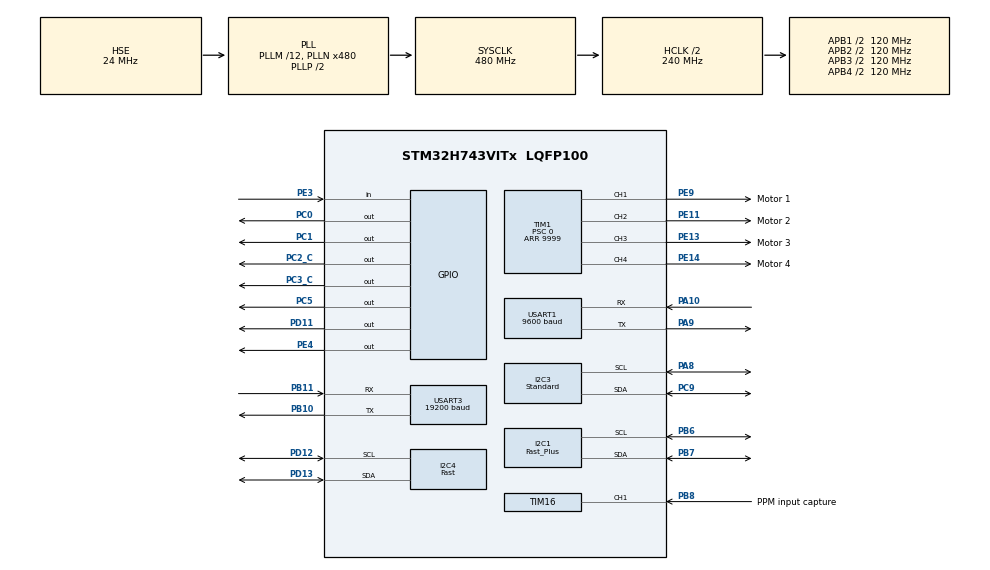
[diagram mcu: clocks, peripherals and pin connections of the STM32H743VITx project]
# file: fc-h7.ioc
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CORTEX_M7.CPU_DCache=Disabled
CORTEX_M7.CPU_ICache=Disabled
CORTEX_M7.default_mode_Activation=0
Dma.I2C1_RX.0.Direction=DMA_PERIPH_TO_MEMORY
Dma.I2C1_RX.0.EventEnable=DISABLE
Dma.I2C1_RX.0.FIFOMode=DMA_FIFOMODE_DISABLE
Dma.I2C1_RX.0.Instance=DMA1_Stream0
Dma.I2C1_RX.0.MemDataAlignment=DMA_MDATAALIGN_BYTE
Dma.I2C1_RX.0.MemInc=DMA_MINC_ENABLE
Dma.I2C1_RX.0.Mode=DMA_NORMAL
Dma.I2C1_RX.0.PeriphDataAlignment=DMA_PDATAALIGN_BYTE
Dma.I2C1_RX.0.PeriphInc=DMA_PINC_DISABLE
Dma.I2C1_RX.0.Polarity=HAL_DMAMUX_REQ_GEN_RISING
Dma.I2C1_RX.0.Priority=DMA_PRIORITY_LOW
Dma.I2C1_RX.0.RequestNumber=1
Dma.I2C1_RX.0.SignalID=NONE
Dma.I2C1_RX.0.SyncEnable=DISABLE
Dma.I2C1_RX.0.SyncPolarity=HAL_DMAMUX_SYNC_NO_EVENT
Dma.I2C1_RX.0.SyncRequestNumber=1
Dma.I2C1_RX.0.SyncSignalID=NONE
Dma.I2C1_TX.1.Direction=DMA_MEMORY_TO_PERIPH
Dma.I2C1_TX.1.EventEnable=DISABLE
Dma.I2C1_TX.1.FIFOMode=DMA_FIFOMODE_DISABLE
Dma.I2C1_TX.1.Instance=DMA2_Stream0
Dma.I2C1_TX.1.MemDataAlignment=DMA_MDATAALIGN_BYTE
Dma.I2C1_TX.1.MemInc=DMA_MINC_ENABLE
Dma.I2C1_TX.1.Mode=DMA_NORMAL
Dma.I2C1_TX.1.PeriphDataAlignment=DMA_PDATAALIGN_BYTE
Dma.I2C1_TX.1.PeriphInc=DMA_PINC_DISABLE
Dma.I2C1_TX.1.Polarity=HAL_DMAMUX_REQ_GEN_RISING
Dma.I2C1_TX.1.Priority=DMA_PRIORITY_LOW
Dma.I2C1_TX.1.RequestNumber=1
Dma.I2C1_TX.1.SignalID=NONE
Dma.I2C1_TX.1.SyncEnable=DISABLE
Dma.I2C1_TX.1.SyncPolarity=HAL_DMAMUX_SYNC_NO_EVENT
Dma.I2C1_TX.1.SyncRequestNumber=1
Dma.I2C1_TX.1.SyncSignalID=NONE
Dma.I2C3_RX.7.Direction=DMA_PERIPH_TO_MEMORY
Dma.I2C3_RX.7.EventEnable=DISABLE
Dma.I2C3_RX.7.FIFOMode=DMA_FIFOMODE_DISABLE
Dma.I2C3_RX.7.Instance=DMA2_Stream6
Dma.I2C3_RX.7.MemDataAlignment=DMA_MDATAALIGN_BYTE
Dma.I2C3_RX.7.MemInc=DMA_MINC_ENABLE
Dma.I2C3_RX.7.Mode=DMA_NORMAL
Dma.I2C3_RX.7.PeriphDataAlignment=DMA_PDATAALIGN_BYTE
Dma.I2C3_RX.7.PeriphInc=DMA_PINC_DISABLE
Dma.I2C3_RX.7.Polarity=HAL_DMAMUX_REQ_GEN_RISING
Dma.I2C3_RX.7.Priority=DMA_PRIORITY_LOW
Dma.I2C3_RX.7.RequestNumber=1
Dma.I2C3_RX.7.SignalID=NONE
Dma.I2C3_RX.7.SyncEnable=DISABLE
Dma.I2C3_RX.7.SyncPolarity=HAL_DMAMUX_SYNC_NO_EVENT
Dma.I2C3_RX.7.SyncRequestNumber=1
Dma.I2C3_RX.7.SyncSignalID=NONE
Dma.I2C3_TX.8.Direction=DMA_MEMORY_TO_PERIPH
Dma.I2C3_TX.8.EventEnable=DISABLE
Dma.I2C3_TX.8.FIFOMode=DMA_FIFOMODE_DISABLE
Dma.I2C3_TX.8.Instance=DMA2_Stream7
Dma.I2C3_TX.8.MemDataAlignment=DMA_MDATAALIGN_BYTE
Dma.I2C3_TX.8.MemInc=DMA_MINC_ENABLE
Dma.I2C3_TX.8.Mode=DMA_NORMAL
Dma.I2C3_TX.8.PeriphDataAlignment=DMA_PDATAALIGN_BYTE
Dma.I2C3_TX.8.PeriphInc=DMA_PINC_DISABLE
Dma.I2C3_TX.8.Polarity=HAL_DMAMUX_REQ_GEN_RISING
Dma.I2C3_TX.8.Priority=DMA_PRIORITY_LOW
Dma.I2C3_TX.8.RequestNumber=1
Dma.I2C3_TX.8.SignalID=NONE
Dma.I2C3_TX.8.SyncEnable=DISABLE
Dma.I2C3_TX.8.SyncPolarity=HAL_DMAMUX_SYNC_NO_EVENT
Dma.I2C3_TX.8.SyncRequestNumber=1
Dma.I2C3_TX.8.SyncSignalID=NONE
Dma.Request0=I2C1_RX
Dma.Request1=I2C1_TX
Dma.Request2=USART1_RX
Dma.Request3=TIM1_CH1
Dma.Request4=TIM1_CH2
Dma.Request5=TIM1_CH3
Dma.Request6=TIM1_CH4
Dma.Request7=I2C3_RX
Dma.Request8=I2C3_TX
Dma.Request9=USART3_RX
Dma.TIM1_CH1.3.Direction=DMA_MEMORY_TO_PERIPH
Dma.TIM1_CH1.3.EventEnable=DISABLE
Dma.TIM1_CH1.3.FIFOMode=DMA_FIFOMODE_ENABLE
Dma.TIM1_CH1.3.FIFOThreshold=DMA_FIFO_THRESHOLD_1QUARTERFULL
Dma.TIM1_CH1.3.Instance=DMA1_Stream2
Dma.TIM1_CH1.3.MemBurst=DMA_MBURST_SINGLE
Dma.TIM1_CH1.3.MemDataAlignment=DMA_MDATAALIGN_WORD
Dma.TIM1_CH1.3.MemInc=DMA_MINC_ENABLE
Dma.TIM1_CH1.3.Mode=DMA_NORMAL
Dma.TIM1_CH1.3.PeriphBurst=DMA_PBURST_SINGLE
Dma.TIM1_CH1.3.PeriphDataAlignment=DMA_PDATAALIGN_WORD
Dma.TIM1_CH1.3.PeriphInc=DMA_PINC_DISABLE
Dma.TIM1_CH1.3.Polarity=HAL_DMAMUX_REQ_GEN_RISING
Dma.TIM1_CH1.3.Priority=DMA_PRIORITY_HIGH
Dma.TIM1_CH1.3.RequestNumber=1
Dma.TIM1_CH1.3.SignalID=NONE
Dma.TIM1_CH1.3.SyncEnable=DISABLE
Dma.TIM1_CH1.3.SyncPolarity=HAL_DMAMUX_SYNC_NO_EVENT
Dma.TIM1_CH1.3.SyncRequestNumber=1
Dma.TIM1_CH1.3.SyncSignalID=NONE
Dma.TIM1_CH2.4.Direction=DMA_MEMORY_TO_PERIPH
Dma.TIM1_CH2.4.EventEnable=DISABLE
Dma.TIM1_CH2.4.FIFOMode=DMA_FIFOMODE_ENABLE
Dma.TIM1_CH2.4.FIFOThreshold=DMA_FIFO_THRESHOLD_1QUARTERFULL
Dma.TIM1_CH2.4.Instance=DMA1_Stream4
Dma.TIM1_CH2.4.MemBurst=DMA_MBURST_SINGLE
Dma.TIM1_CH2.4.MemDataAlignment=DMA_MDATAALIGN_WORD
Dma.TIM1_CH2.4.MemInc=DMA_MINC_ENABLE
Dma.TIM1_CH2.4.Mode=DMA_NORMAL
Dma.TIM1_CH2.4.PeriphBurst=DMA_PBURST_SINGLE
Dma.TIM1_CH2.4.PeriphDataAlignment=DMA_PDATAALIGN_WORD
Dma.TIM1_CH2.4.PeriphInc=DMA_PINC_DISABLE
Dma.TIM1_CH2.4.Polarity=HAL_DMAMUX_REQ_GEN_RISING
Dma.TIM1_CH2.4.Priority=DMA_PRIORITY_HIGH
Dma.TIM1_CH2.4.RequestNumber=1
Dma.TIM1_CH2.4.SignalID=NONE
Dma.TIM1_CH2.4.SyncEnable=DISABLE
Dma.TIM1_CH2.4.SyncPolarity=HAL_DMAMUX_SYNC_NO_EVENT
Dma.TIM1_CH2.4.SyncRequestNumber=1
Dma.TIM1_CH2.4.SyncSignalID=NONE
Dma.TIM1_CH3.5.Direction=DMA_MEMORY_TO_PERIPH
Dma.TIM1_CH3.5.EventEnable=DISABLE
Dma.TIM1_CH3.5.FIFOMode=DMA_FIFOMODE_ENABLE
Dma.TIM1_CH3.5.FIFOThreshold=DMA_FIFO_THRESHOLD_1QUARTERFULL
Dma.TIM1_CH3.5.Instance=DMA1_Stream7
Dma.TIM1_CH3.5.MemBurst=DMA_MBURST_SINGLE
Dma.TIM1_CH3.5.MemDataAlignment=DMA_MDATAALIGN_WORD
Dma.TIM1_CH3.5.MemInc=DMA_MINC_ENABLE
Dma.TIM1_CH3.5.Mode=DMA_NORMAL
Dma.TIM1_CH3.5.PeriphBurst=DMA_PBURST_SINGLE
Dma.TIM1_CH3.5.PeriphDataAlignment=DMA_PDATAALIGN_WORD
Dma.TIM1_CH3.5.PeriphInc=DMA_PINC_DISABLE
Dma.TIM1_CH3.5.Polarity=HAL_DMAMUX_REQ_GEN_RISING
Dma.TIM1_CH3.5.Priority=DMA_PRIORITY_HIGH
Dma.TIM1_CH3.5.RequestNumber=1
Dma.TIM1_CH3.5.SignalID=NONE
Dma.TIM1_CH3.5.SyncEnable=DISABLE
Dma.TIM1_CH3.5.SyncPolarity=HAL_DMAMUX_SYNC_NO_EVENT
Dma.TIM1_CH3.5.SyncRequestNumber=1
Dma.TIM1_CH3.5.SyncSignalID=NONE
Dma.TIM1_CH4.6.Direction=DMA_MEMORY_TO_PERIPH
Dma.TIM1_CH4.6.EventEnable=DISABLE
Dma.TIM1_CH4.6.FIFOMode=DMA_FIFOMODE_ENABLE
Dma.TIM1_CH4.6.FIFOThreshold=DMA_FIFO_THRESHOLD_1QUARTERFULL
Dma.TIM1_CH4.6.Instance=DMA2_Stream1
Dma.TIM1_CH4.6.MemBurst=DMA_MBURST_SINGLE
Dma.TIM1_CH4.6.MemDataAlignment=DMA_MDATAALIGN_WORD
Dma.TIM1_CH4.6.MemInc=DMA_MINC_ENABLE
Dma.TIM1_CH4.6.Mode=DMA_NORMAL
Dma.TIM1_CH4.6.PeriphBurst=DMA_PBURST_SINGLE
Dma.TIM1_CH4.6.PeriphDataAlignment=DMA_PDATAALIGN_WORD
Dma.TIM1_CH4.6.PeriphInc=DMA_PINC_DISABLE
Dma.TIM1_CH4.6.Polarity=HAL_DMAMUX_REQ_GEN_RISING
Dma.TIM1_CH4.6.Priority=DMA_PRIORITY_HIGH
Dma.TIM1_CH4.6.RequestNumber=1
Dma.TIM1_CH4.6.SignalID=NONE
Dma.TIM1_CH4.6.SyncEnable=DISABLE
Dma.TIM1_CH4.6.SyncPolarity=HAL_DMAMUX_SYNC_NO_EVENT
Dma.TIM1_CH4.6.SyncRequestNumber=1
Dma.TIM1_CH4.6.SyncSignalID=NONE
Dma.USART1_RX.2.Direction=DMA_PERIPH_TO_MEMORY
Dma.USART1_RX.2.EventEnable=DISABLE
Dma.USART1_RX.2.FIFOMode=DMA_FIFOMODE_DISABLE
Dma.USART1_RX.2.Instance=DMA1_Stream6
Dma.USART1_RX.2.MemDataAlignment=DMA_MDATAALIGN_BYTE
Dma.USART1_RX.2.MemInc=DMA_MINC_ENABLE
Dma.USART1_RX.2.Mode=DMA_CIRCULAR
Dma.USART1_RX.2.PeriphDataAlignment=DMA_PDATAALIGN_BYTE
Dma.USART1_RX.2.PeriphInc=DMA_PINC_DISABLE
Dma.USART1_RX.2.Polarity=HAL_DMAMUX_REQ_GEN_RISING
Dma.USART1_RX.2.Priority=DMA_PRIORITY_LOW
Dma.USART1_RX.2.RequestNumber=1
Dma.USART1_RX.2.SignalID=NONE
Dma.USART1_RX.2.SyncEnable=DISABLE
Dma.USART1_RX.2.SyncPolarity=HAL_DMAMUX_SYNC_NO_EVENT
Dma.USART1_RX.2.SyncRequestNumber=1
Dma.USART1_RX.2.SyncSignalID=NONE
Dma.USART3_RX.9.Direction=DMA_PERIPH_TO_MEMORY
Dma.USART3_RX.9.EventEnable=DISABLE
Dma.USART3_RX.9.FIFOMode=DMA_FIFOMODE_DISABLE
Dma.USART3_RX.9.Instance=DMA1_Stream1
Dma.USART3_RX.9.MemDataAlignment=DMA_MDATAALIGN_BYTE
Dma.USART3_RX.9.MemInc=DMA_MINC_ENABLE
Dma.USART3_RX.9.Mode=DMA_CIRCULAR
Dma.USART3_RX.9.PeriphDataAlignment=DMA_PDATAALIGN_BYTE
Dma.USART3_RX.9.PeriphInc=DMA_PINC_DISABLE
Dma.USART3_RX.9.Polarity=HAL_DMAMUX_REQ_GEN_RISING
Dma.USART3_RX.9.Priority=DMA_PRIORITY_LOW
Dma.USART3_RX.9.RequestNumber=1
Dma.USART3_RX.9.SignalID=NONE
Dma.USART3_RX.9.SyncEnable=DISABLE
Dma.USART3_RX.9.SyncPolarity=HAL_DMAMUX_SYNC_NO_EVENT
Dma.USART3_RX.9.SyncRequestNumber=1
Dma.USART3_RX.9.SyncSignalID=NONE
I2C1.I2C_Speed_Mode=I2C_Fast_Plus
I2C1.Timing=0x0050174F
I2C3.I2C_Speed_Mode=I2C_Standard
I2C3.OwnAddress=0x68
I2C3.Timing=0x307075B1
I2C4.I2C_Speed_Mode=I2C_Fast
I2C4.Timing=0x00B03FDB
Mcu.Family=STM32H7
Mcu.Name=STM32H743VITx
Mcu.Package=LQFP100
NVIC.DMA1_Stream0_IRQn=true\:0\:0\:false\:false\:true\:false\:true\:true
NVIC.DMA1_Stream1_IRQn=true\:0\:0\:false\:false\:true\:false\:true\:true
NVIC.DMA1_Stream2_IRQn=true\:0\:0\:false\:false\:true\:false\:true\:true
NVIC.DMA1_Stream4_IRQn=true\:0\:0\:false\:false\:true\:false\:true\:true
NVIC.DMA1_Stream6_IRQn=true\:0\:0\:false\:false\:true\:false\:true\:true
NVIC.DMA1_Stream7_IRQn=true\:0\:0\:false\:false\:true\:false\:true\:true
NVIC.DMA2_Stream0_IRQn=true\:0\:0\:false\:false\:true\:false\:true\:true
NVIC.DMA2_Stream1_IRQn=true\:0\:0\:false\:false\:true\:false\:true\:true
NVIC.DMA2_Stream6_IRQn=true\:0\:0\:false\:false\:true\:false\:true\:true
NVIC.DMA2_Stream7_IRQn=true\:0\:0\:false\:false\:true\:false\:true\:true
NVIC.I2C1_ER_IRQn=true\:0\:0\:false\:false\:true\:true\:true\:true
NVIC.I2C1_EV_IRQn=true\:0\:0\:false\:false\:true\:true\:true\:true
NVIC.PriorityGroup=NVIC_PRIORITYGROUP_4
NVIC.TIM16_IRQn=true\:0\:0\:false\:false\:true\:true\:true\:true
NVIC.TIM6_DAC_IRQn=true\:0\:0\:false\:false\:true\:true\:true\:true
NVIC.TIM7_IRQn=true\:0\:0\:false\:false\:true\:true\:true\:true
NVIC.TIM8_TRG_COM_TIM14_IRQn=true\:0\:0\:false\:false\:true\:true\:true\:true
NVIC.TIM8_UP_TIM13_IRQn=true\:0\:0\:false\:false\:true\:true\:true\:true
NVIC.USART1_IRQn=true\:0\:0\:false\:false\:true\:true\:true\:true
NVIC.USART3_IRQn=true\:0\:0\:false\:false\:true\:true\:true\:true
PA0.Signal=S_TIM2_CH1_ETR
PA1.GPIO_Label=Motor 8
PA1.Signal=S_TIM2_CH2
PA10.Mode=Asynchronous
PA10.Signal=USART1_RX
PA11.Signal=UART4_RX
PA12.Signal=UART4_TX
PA13\ (JTMS/SWDIO).Mode=Serial_Wire
PA13\ (JTMS/SWDIO).Signal=DEBUG_JTMS-SWDIO
PA14\ (JTCK/SWCLK).Mode=Serial_Wire
PA14\ (JTCK/SWCLK).Signal=DEBUG_JTCK-SWCLK
PA2.Signal=S_TIM2_CH3
PA3.Signal=S_TIM2_CH4
PA8.Mode=I2C
PA8.Signal=I2C3_SCL
PA9.Mode=Asynchronous
PA9.Signal=USART1_TX
PB10.Mode=Asynchronous
PB10.Signal=USART3_TX
PB11.Mode=Asynchronous
PB11.Signal=USART3_RX
PB6.Mode=I2C
PB6.Signal=I2C1_SCL
PB7.Mode=I2C
PB7.Signal=I2C1_SDA
PB8.GPIO_Label=PPM input capture
PB8.Signal=S_TIM16_CH1
PC0.Signal=GPIO_Output
PC1.Signal=GPIO_Output
PC2_C.Signal=GPIO_Output
PC3_C.Signal=GPIO_Output
PC5.Signal=GPIO_Output
PC9.Mode=I2C
PC9.Signal=I2C3_SDA
PD11.Signal=GPIO_Output
PD12.Mode=I2C
PD12.Signal=I2C4_SCL
PD13.Mode=I2C
PD13.Signal=I2C4_SDA
PD5.PinAttribute=Free
PD5.Signal=USART2_TX
PD6.PinAttribute=Free
PD6.Signal=USART2_RX
PE11.GPIO_Label=Motor 2
PE11.Signal=S_TIM1_CH2
PE13.GPIO_Label=Motor 3
PE13.Signal=S_TIM1_CH3
PE14.GPIO_Label=Motor 4
PE14.Signal=S_TIM1_CH4
PE3.Signal=GPIO_Input
PE4.Signal=GPIO_Output
PE5.Signal=S_TIM15_CH1
PE6.Signal=S_TIM15_CH2
PE9.GPIO_Label=Motor 1
PE9.Signal=S_TIM1_CH1
PH0-OSC_IN\ (PH0).Mode=HSE-External-Oscillator
PH0-OSC_IN\ (PH0).Signal=RCC_OSC_IN
PH1-OSC_OUT\ (PH1).Mode=HSE-External-Oscillator
PH1-OSC_OUT\ (PH1).Signal=RCC_OSC_OUT
ProjectManager.HeapSize=0x200
ProjectManager.StackSize=0x400
ProjectManager.TargetToolchain=STM32CubeIDE
RCC.ADCFreq_Value=480000000
RCC.APB1Freq_Value=120000000
RCC.APB2Freq_Value=120000000
RCC.APB3Freq_Value=120000000
RCC.APB4Freq_Value=120000000
RCC.CortexFreq_Value=480000000
RCC.D1PPRE=RCC_APB3_DIV2
RCC.D2PPRE1=RCC_APB1_DIV2
RCC.D2PPRE2=RCC_APB2_DIV2
RCC.D3PPRE=RCC_APB4_DIV2
RCC.DIVM1=12
RCC.DIVM2=12
RCC.DIVM3=12
RCC.DIVN1=480
RCC.DIVN2=480
RCC.DIVN3=480
RCC.DIVQ2=8
RCC.DIVQ3=8
RCC.DIVR1=8
RCC.DIVR3=8
RCC.HCLKFreq_Value=240000000
RCC.HPRE=RCC_HCLK_DIV2
RCC.HSE_VALUE=24000000
RCC.HSIDiv=RCC_PLLSAIDIVR_8
RCC.I2C123CLockSelection=RCC_I2C123CLKSOURCE_PLL3
RCC.I2C4CLockSelection=RCC_I2C4CLKSOURCE_PLL3
RCC.PLL1_VCI_Range-AdvancedSettings=RCC_PLL1VCIRANGE_0
RCC.PLL2FRACN=0
RCC.PLL2_VCI_Range-AdvancedSettings=RCC_PLL2VCIRANGE_3
RCC.PLL3FRACN=0
RCC.PLLFRACN=0
RCC.PLLSourceVirtual=RCC_PLLSOURCE_HSE
RCC.SYSCLKFreq_VALUE=480000000
RCC.SYSCLKSource=RCC_SYSCLKSOURCE_PLLCLK
RCC.USART16CLockSelection=RCC_USART16CLKSOURCE_PLL3
RCC.USART234578CLockSelection=RCC_USART234578CLKSOURCE_PLL3
RCC.USBCLockSelection=RCC_USBCLKSOURCE_HSI48
RCC.USBFreq_Value=48000000
SH.S_TIM15_CH1.0=TIM15_CH1
SH.S_TIM15_CH2.0=TIM15_CH2
SH.S_TIM16_CH1.0=TIM16_CH1,Input_Capture1_from_TI1
SH.S_TIM1_CH1.0=TIM1_CH1,PWM Generation1 CH1
SH.S_TIM1_CH2.0=TIM1_CH2,PWM Generation2 CH2
SH.S_TIM1_CH3.0=TIM1_CH3,PWM Generation3 CH3
SH.S_TIM1_CH4.0=TIM1_CH4,PWM Generation4 CH4
SH.S_TIM2_CH1_ETR.0=TIM2_CH1
SH.S_TIM2_CH2.0=TIM2_CH2
SH.S_TIM2_CH3.0=TIM2_CH3
SH.S_TIM2_CH4.0=TIM2_CH4
TIM1.Channel-PWM\ Generation1\ CH1=TIM_CHANNEL_1
TIM1.Channel-PWM\ Generation2\ CH2=TIM_CHANNEL_2
TIM1.Channel-PWM\ Generation3\ CH3=TIM_CHANNEL_3
TIM1.Channel-PWM\ Generation4\ CH4=TIM_CHANNEL_4
TIM1.Period=9999
TIM1.Prescaler=0
TIM13.Period=999
TIM13.Prescaler=239
TIM14.Period=124
TIM14.Prescaler=239
TIM16.Channel=TIM_CHANNEL_1
TIM16.Prescaler=239
TIM6.Period=249
TIM6.Prescaler=239
TIM7.Period=499
TIM7.Prescaler=239
USART1.BaudRate=9600
USART1.VirtualMode-Asynchronous=VM_ASYNC
USART3.BaudRate=19200
USART3.VirtualMode-Asynchronous=VM_ASYNC
VP_MEMORYMAP_VS_MEMORYMAP.Mode=CurAppReg
VP_TIM13_VS_ClockSourceINT.Mode=Enable_Timer
VP_TIM14_VS_ClockSourceINT.Mode=Enable_Timer
VP_TIM16_VS_ClockSourceINT.Mode=Enable_Timer
VP_TIM1_VS_ClockSourceINT.Mode=Internal
VP_TIM6_VS_ClockSourceINT.Mode=Enable_Timer
VP_TIM7_VS_ClockSourceINT.Mode=Enable_Timer
board=custom

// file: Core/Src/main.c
/* USER CODE BEGIN Header */
/**
  ******************************************************************************
  * @file           : main.c
  * @brief          : Main program body
  ******************************************************************************
  * @attention
  *
  * Copyright (c) 2025 STMicroelectronics.
  * All rights reserved.
  *
  * This software is licensed under terms that can be found in the LICENSE file
  * in the root directory of this software component.
  * If no LICENSE file comes with this software, it is provided AS-IS.
  *
  ******************************************************************************
  */
/* USER CODE END Header */
#include "main.h"

/* USER CODE BEGIN Includes */
#include <platform.h>
#include <dshot.h>
#include <dshot_ex.h>
#include <string.h>
#include <stdlib.h>
#include <macro.h>

/* USER CODE END Includes */

I2C_HandleTypeDef hi2c1;
I2C_HandleTypeDef hi2c3;
I2C_HandleTypeDef hi2c4;
DMA_HandleTypeDef hdma_i2c1_rx;
DMA_HandleTypeDef hdma_i2c1_tx;
DMA_HandleTypeDef hdma_i2c3_rx;
DMA_HandleTypeDef hdma_i2c3_tx;

TIM_HandleTypeDef htim1;
TIM_HandleTypeDef htim6;
TIM_HandleTypeDef htim7;
TIM_HandleTypeDef htim13;
TIM_HandleTypeDef htim14;
TIM_HandleTypeDef htim16;
DMA_HandleTypeDef hdma_tim1_ch1;
DMA_HandleTypeDef hdma_tim1_ch2;
DMA_HandleTypeDef hdma_tim1_ch3;
DMA_HandleTypeDef hdma_tim1_ch4;

UART_HandleTypeDef huart1;
UART_HandleTypeDef huart3;
DMA_HandleTypeDef hdma_usart1_rx;
DMA_HandleTypeDef hdma_usart3_rx;

void SystemClock_Config(void);
void PeriphCommonClock_Config(void);
static void MX_GPIO_Init(void);
static void MX_DMA_Init(void);
static void MX_I2C1_Init(void);
static void MX_I2C3_Init(void);
static void MX_I2C4_Init(void);
static void MX_TIM1_Init(void);
static void MX_TIM6_Init(void);
static void MX_TIM7_Init(void);
static void MX_TIM13_Init(void);
static void MX_TIM14_Init(void);
static void MX_TIM16_Init(void);
static void MX_USART1_UART_Init(void);
static void MX_USART3_UART_Init(void);

/* USER CODE BEGIN 0 */

#define MAX_UART_BUFFER_SIZE 128

typedef struct {
  uint8_t byte;
  uint8_t buffer[MAX_UART_BUFFER_SIZE];
  uint8_t header[2];
  char stage;
  uint16_t payload_size;
  int buffer_idx;
} uart_rx_t;

static I2C_HandleTypeDef* i2c_ports[3] = {&hi2c1, &hi2c3, &hi2c4};
static UART_HandleTypeDef* uart_ports[2] = {&huart1, &huart3};
static TIM_HandleTypeDef* g_pwm_timers[4] = {&htim1, &htim1, &htim1, &htim1};
static uint32_t g_pwm_timer_channels[4] = {TIM_CHANNEL_1, TIM_CHANNEL_2, TIM_CHANNEL_3, TIM_CHANNEL_4};
static TIM_TypeDef *g_pwm_time_bases[4] = {TIM1, TIM1, TIM1, TIM1};

static dshot_t g_dshots[4];

static dshot_ex_t g_dshot_exs[4];

static uart_rx_t g_uart_rx1 = {0, {0}, {0}, 0, 0, 0};
static uart_rx_t g_uart_rx2 = {0, {0}, {0}, 0, 0, 0};

static void toggle_led(char led) {
	HAL_GPIO_TogglePin(GPIOC, GPIO_PIN_0);
}

static void delay(uint32_t ms) {
	HAL_Delay(ms);
}

static uint32_t time_ms(void) {
	return HAL_GetTick();
}

static char storage_read(uint16_t start, uint16_t size, uint8_t *data) {
	return 0;
}

static char storage_write(uint16_t start, uint16_t size, uint8_t *data) {
	return 0;
}

static char i2c_write_read_dma(i2c_port_t port, uint8_t address, uint8_t *input, uint16_t input_size,
		uint8_t *output, uint16_t output_size) {
	return HAL_I2C_Mem_Read_DMA(i2c_ports[port], address, *(uint16_t*)input, input_size, output, output_size);
}

static char i2c_write_read(i2c_port_t port, uint8_t address, uint8_t *input, uint16_t input_size,
		uint8_t *output, uint16_t output_size, uint32_t timeout) {
	return HAL_I2C_Mem_Read(i2c_ports[port], address, *(uint16_t*)input, input_size, output, output_size, timeout);
}

static char i2c_read(i2c_port_t port, uint8_t address, uint8_t *output, uint16_t output_size) {
	return HAL_I2C_Master_Receive(i2c_ports[port], address, output, output_size, 1000);
}

static char i2c_write(i2c_port_t port, uint8_t address, uint8_t *input, uint16_t input_size) {
	return HAL_I2C_Master_Transmit(i2c_ports[port], address, input, input_size, 1000);
}

static char uart_send(uart_port_t port, uint8_t *data, uint16_t data_size) {
	return HAL_UART_Transmit_IT(uart_ports[port], data, data_size);
}

static char pwm_init(pwm_port_t port) {
	HAL_TIM_PWM_Start(g_pwm_timers[port], g_pwm_timer_channels[port]);
	return 0;
}

static void set_pwm(TIM_TypeDef *timer_base, uint32_t channel, uint32_t duty) {
	switch (channel) {
	case TIM_CHANNEL_1:
		timer_base->CCR1 = duty;
		break;
	case TIM_CHANNEL_2:
		timer_base->CCR2 = duty;
		break;
	case TIM_CHANNEL_3:
		timer_base->CCR3 = duty;
		break;
	case TIM_CHANNEL_4:
		timer_base->CCR4 = duty;
		break;
	default:
		break;
	}
}

static char pwm_send(pwm_port_t port, uint32_t data) {
	set_pwm(g_pwm_time_bases[port], g_pwm_timer_channels[port], data);
	return 0;
}

static char _dshot_init(dshot_port_t port) {
	switch (port) {
	case DSHOT_PORT1:
		dshot_init(&g_dshots[0], &htim1, TIM_CHANNEL_1, TIM_DMA_ID_CC1, (uint32_t)&((&htim1)->Instance->CCR1));
		break;
	case DSHOT_PORT2:
		dshot_init(&g_dshots[1], &htim1, TIM_CHANNEL_2, TIM_DMA_ID_CC2, (uint32_t)&((&htim1)->Instance->CCR2));
		break;
	case DSHOT_PORT3:
		dshot_init(&g_dshots[2], &htim1, TIM_CHANNEL_3, TIM_DMA_ID_CC3, (uint32_t)&((&htim1)->Instance->CCR3));
		break;
	case DSHOT_PORT4:
		dshot_init(&g_dshots[3], &htim1, TIM_CHANNEL_4, TIM_DMA_ID_CC4, (uint32_t)&((&htim1)->Instance->CCR4));
		break;
	default:
		break;
	}

	return 0;
}

static char dshot_send(dshot_port_t port, uint16_t data) {
	dshot_write(&g_dshots[port], data);
	return 0;
}

static char _dshot_ex_init(dshot_ex_port_t port) {
	switch (port) {
	case DSHOT_EX_PORT1:
		dshot_ex_init(&g_dshot_exs[0], &htim1, TIM_CHANNEL_1, TIM_DMA_ID_CC1, (uint32_t)&((&htim1)->Instance->CCR1));
		break;
	case DSHOT_EX_PORT2:
		dshot_ex_init(&g_dshot_exs[1], &htim1, TIM_CHANNEL_2, TIM_DMA_ID_CC2, (uint32_t)&((&htim1)->Instance->CCR2));
		break;
	case DSHOT_EX_PORT3:
		dshot_ex_init(&g_dshot_exs[2], &htim1, TIM_CHANNEL_3, TIM_DMA_ID_CC3, (uint32_t)&((&htim1)->Instance->CCR3));
		break;
	case DSHOT_EX_PORT4:
		dshot_ex_init(&g_dshot_exs[3], &htim1, TIM_CHANNEL_4, TIM_DMA_ID_CC4, (uint32_t)&((&htim1)->Instance->CCR4));
		break;
	default:
		break;
	}

	return 0;
}

static char dshot_ex_send(dshot_ex_port_t port, uint32_t data) {
	dshot_ex_write(&g_dshot_exs[port], data);
	return 0;
}

static void handle_db_msg(uart_rx_t *msg) {
    if ((msg->header[0] == 'd' && msg->header[1] == 'b')) { // DB message
    	platform_receive_internal_message(msg->buffer, msg->payload_size);
    }
}

void HAL_UART_RxCpltCallback(UART_HandleTypeDef *huart) {
	if (huart->Instance == USART1) {
		if (g_uart_rx1.stage == 5) {
			g_uart_rx1.buffer[g_uart_rx1.buffer_idx] = g_uart_rx1.byte;
			g_uart_rx1.buffer_idx++;
			// Plus 2-byte class-id, 2-byte length and 2-byte checksum
			if (g_uart_rx1.buffer_idx == (int) g_uart_rx1.payload_size + 6) {
				g_uart_rx1.stage = 0;
				handle_db_msg(&g_uart_rx1);
			}
		} else if (g_uart_rx1.stage == 0) {
			if (g_uart_rx1.byte == 'd' || g_uart_rx1.byte == 'b') {
				g_uart_rx1.header[0] = g_uart_rx1.byte;
				g_uart_rx1.stage = 1;
			}
		} else if (g_uart_rx1.stage == 1) {
			if (g_uart_rx1.byte == 'b' || g_uart_rx1.byte == 'd') {
				g_uart_rx1.header[1] = g_uart_rx1.byte;
				g_uart_rx1.buffer_idx = 0;
				g_uart_rx1.stage = 2;
			} else g_uart_rx1.stage = 0;
		} else if (g_uart_rx1.stage == 2) {
			g_uart_rx1.buffer[g_uart_rx1.buffer_idx] = g_uart_rx1.byte;
			g_uart_rx1.buffer_idx = 1;
			g_uart_rx1.stage = 3;
		} else if (g_uart_rx1.stage == 3) {
			g_uart_rx1.buffer[g_uart_rx1.buffer_idx] = g_uart_rx1.byte;
			g_uart_rx1.buffer_idx = 2;
			g_uart_rx1.stage = 4;
		} else if (g_uart_rx1.stage == 4) {
			g_uart_rx1.buffer[g_uart_rx1.buffer_idx] = g_uart_rx1.byte;
			g_uart_rx1.buffer_idx++;
			if (g_uart_rx1.buffer_idx == 4) {
				g_uart_rx1.payload_size = * (uint16_t * ) & g_uart_rx1.buffer[2];
				g_uart_rx1.stage = 5;
			}
		} else {
			g_uart_rx1.stage = 0;
		}
	}

	if (huart->Instance == USART3) {
		if (g_uart_rx2.stage == 5) {
			g_uart_rx2.buffer[g_uart_rx2.buffer_idx] = g_uart_rx2.byte;
			g_uart_rx2.buffer_idx++;
			// Plus 2-byte class-id, 2-byte length and 2-byte checksum
			if (g_uart_rx2.buffer_idx == (int) g_uart_rx2.payload_size + 6) {
				g_uart_rx2.stage = 0;
				handle_db_msg(&g_uart_rx2);
			}
		} else if (g_uart_rx2.stage == 0) {
			if (g_uart_rx2.byte == 'd' || g_uart_rx2.byte == 'b') {
				g_uart_rx2.header[0] = g_uart_rx2.byte;
				g_uart_rx2.stage = 1;
			}
		} else if (g_uart_rx2.stage == 1) {
			if (g_uart_rx2.byte == 'b' || g_uart_rx2.byte == 'd') {
				g_uart_rx2.header[1] = g_uart_rx2.byte;
				g_uart_rx2.buffer_idx = 0;
				g_uart_rx2.stage = 2;
			} else g_uart_rx2.stage = 0;
		} else if (g_uart_rx2.stage == 2) {
			g_uart_rx2.buffer[g_uart_rx2.buffer_idx] = g_uart_rx2.byte;
			g_uart_rx2.buffer_idx = 1;
			g_uart_rx2.stage = 3;
		} else if (g_uart_rx2.stage == 3) {
			g_uart_rx2.buffer[g_uart_rx2.buffer_idx] = g_uart_rx2.byte;
			g_uart_rx2.buffer_idx = 2;
			g_uart_rx2.stage = 4;
		} else if (g_uart_rx2.stage == 4) {
			g_uart_rx2.buffer[g_uart_rx2.buffer_idx] = g_uart_rx2.byte;
			g_uart_rx2.buffer_idx++;
			if (g_uart_rx2.buffer_idx == 4) {
				g_uart_rx2.payload_size = * (uint16_t * ) & g_uart_rx2.buffer[2];
				g_uart_rx2.stage = 5;
			}
		} else {
			g_uart_rx2.stage = 0;
		}
	}
}

#define MIN_RC_IN_CAP 1000
#define AVR_RC_IN_CAP 1500
#define MAX_RC_IN_CAP 2000
#define RANGE_RC_IN_CAP (MAX_RC_IN_CAP - MIN_RC_IN_CAP)
#define SIGNIFICANT_CHANGE 20
#define MIN_THROTTLE ((int)(-RANGE_RC_IN_CAP/2)+SIGNIFICANT_CHANGE)
#define MIN_YAW ((int)(-RANGE_RC_IN_CAP/2)+SIGNIFICANT_CHANGE)
#define MIN_PITCH ((int)(-RANGE_RC_IN_CAP/2)+SIGNIFICANT_CHANGE)
#define MAX_ROLL ((int)(RANGE_RC_IN_CAP/2)-SIGNIFICANT_CHANGE)

static int g_rc_params[16];
static int g_rc_param_idx = 0;
static int cap_value_prev = 0;
static uint8_t g_rc_db_msg_payload[22] = {0x02 /* Command */, 0x00 /* Set point */, 0, 0x0f};

void HAL_TIM_IC_CaptureCallback(TIM_HandleTypeDef *htim) {
	if (htim->Instance == TIM16) {
		switch (htim->Channel) {
		case HAL_TIM_ACTIVE_CHANNEL_1:
			int cap_value = HAL_TIM_ReadCapturedValue(&htim16, TIM_CHANNEL_1);
			int value = cap_value - cap_value_prev;
			cap_value_prev = cap_value;

			if (value < 0) value += 65536;

			if (g_rc_param_idx < 17) {
				g_rc_params[g_rc_param_idx] = value;
				g_rc_param_idx += 1;
			}

			if (value > MAX_RC_IN_CAP + MIN_RC_IN_CAP) {
				g_rc_param_idx = 0;

				int roll 	= g_rc_params[3] - 1500;
				int pitch = g_rc_params[2] - 1500;
				int yaw 	= g_rc_params[0] - 1500;
				int alt 	= g_rc_params[1] - 1500;
				uint8_t state = g_rc_params[4] < 1250 ? 0 : (g_rc_params[4] > 1750 ? 2 : 1);
				uint8_t mode = g_rc_params[5] < 1250 ? 0 : (g_rc_params[5] > 1750 ? 2 : 1);

				if (roll <= -10) roll = roll + 10;
				else if (roll >= 10) roll = roll - 10;
				else roll = 0;

				if (pitch <= -10) pitch = pitch + 10;
				else if (pitch >= 10) pitch = pitch - 10;
				else pitch = 0;

				if (yaw <= -10) yaw = yaw + 10;
				else if (yaw >= 10) yaw = yaw - 10;
				else yaw = 0;

				if (alt <= -10) alt = alt + 10;
				else if (alt >= 10) alt = alt - 10;
				else alt = 0;

				memcpy(&g_rc_db_msg_payload[4], (uint8_t*)&roll, sizeof(int));
				memcpy(&g_rc_db_msg_payload[8], (uint8_t*)&pitch, sizeof(int));
				memcpy(&g_rc_db_msg_payload[12], (uint8_t*)&yaw, sizeof(int));
				memcpy(&g_rc_db_msg_payload[16], (uint8_t*)&alt, sizeof(int));
				g_rc_db_msg_payload[20] = state;
				g_rc_db_msg_payload[21] = mode;
				platform_receive_internal_message(g_rc_db_msg_payload, 22);
			}
			break;
		default:
			break;
		}
	}
}

/* USER CODE END 0 */

int main(void)
{

  /* MCU Configuration--------------------------------------------------------*/

  /* Reset of all peripherals, Initializes the Flash interface and the Systick. */
  HAL_Init();

  /* Configure the system clock */
  SystemClock_Config();

  /* Configure the peripherals common clocks */
  PeriphCommonClock_Config();

  /* Initialize all configured peripherals */
  MX_GPIO_Init();
  MX_DMA_Init();
  MX_I2C1_Init();
  MX_I2C3_Init();
  MX_I2C4_Init();
  MX_TIM1_Init();
  MX_TIM6_Init();
  MX_TIM7_Init();
  MX_TIM13_Init();
  MX_TIM14_Init();
  MX_TIM16_Init();
  MX_USART1_UART_Init();
  MX_USART3_UART_Init();
  /* USER CODE BEGIN 2 */

  HAL_Delay(100);

  // Register platform functions
  platform_register_toggle_led(toggle_led);
  platform_register_time_ms(time_ms);
  platform_register_delay(delay);
  platform_register_storage(storage_read, storage_write);
  platform_register_io_functions(
  		i2c_write_read_dma,
		i2c_write_read,
		i2c_read, i2c_write,
		uart_send,
		pwm_init,
		pwm_send,
		_dshot_init,
		dshot_send,
		_dshot_ex_init,
		dshot_ex_send);

  // Setup platform modules
  platform_setup();

  // Start UART communication
  HAL_UART_Receive_DMA(&huart1, &g_uart_rx1.byte, 1);
  HAL_UART_Receive_DMA(&huart3, &g_uart_rx2.byte, 1);

  // PPM input capture
  HAL_TIM_IC_Start_IT(&htim16, TIM_CHANNEL_1);

  // Start timers
  HAL_TIM_Base_Start_IT(&htim6);
  HAL_TIM_Base_Start_IT(&htim7);
  HAL_TIM_Base_Start_IT(&htim13);
  HAL_TIM_Base_Start_IT(&htim14);

  /* USER CODE END 2 */

  /* Infinite loop */
  /* USER CODE BEGIN WHILE */
  while (1)
  {
	  platform_loop();
    /* USER CODE END WHILE */

  }
}

void SystemClock_Config(void)
{
  RCC_OscInitTypeDef RCC_OscInitStruct = {0};
  RCC_ClkInitTypeDef RCC_ClkInitStruct = {0};

  /** Supply configuration update enable
  */
  HAL_PWREx_ConfigSupply(PWR_LDO_SUPPLY);

  /** Configure the main internal regulator output voltage
  */
  __HAL_PWR_VOLTAGESCALING_CONFIG(PWR_REGULATOR_VOLTAGE_SCALE0);

  while(!__HAL_PWR_GET_FLAG(PWR_FLAG_VOSRDY)) {}

  /** Initializes the RCC Oscillators according to the specified parameters
  * in the RCC_OscInitTypeDef structure.
  */
  RCC_OscInitStruct.OscillatorType = RCC_OSCILLATORTYPE_HSE;
  RCC_OscInitStruct.HSEState = RCC_HSE_ON;
  RCC_OscInitStruct.PLL.PLLState = RCC_PLL_ON;
  RCC_OscInitStruct.PLL.PLLSource = RCC_PLLSOURCE_HSE;
  RCC_OscInitStruct.PLL.PLLM = 12;
  RCC_OscInitStruct.PLL.PLLN = 480;
  RCC_OscInitStruct.PLL.PLLP = 2;
  RCC_OscInitStruct.PLL.PLLQ = 2;
  RCC_OscInitStruct.PLL.PLLR = 8;
  RCC_OscInitStruct.PLL.PLLRGE = RCC_PLL1VCIRANGE_1;
  RCC_OscInitStruct.PLL.PLLVCOSEL = RCC_PLL1VCOWIDE;
  RCC_OscInitStruct.PLL.PLLFRACN = 0;
  if (HAL_RCC_OscConfig(&RCC_OscInitStruct) != HAL_OK)
  {
    Error_Handler();
  }

  /** Initializes the CPU, AHB and APB buses clocks
  */
  RCC_ClkInitStruct.ClockType = RCC_CLOCKTYPE_HCLK|RCC_CLOCKTYPE_SYSCLK
                              |RCC_CLOCKTYPE_PCLK1|RCC_CLOCKTYPE_PCLK2
                              |RCC_CLOCKTYPE_D3PCLK1|RCC_CLOCKTYPE_D1PCLK1;
  RCC_ClkInitStruct.SYSCLKSource = RCC_SYSCLKSOURCE_PLLCLK;
  RCC_ClkInitStruct.SYSCLKDivider = RCC_SYSCLK_DIV1;
  RCC_ClkInitStruct.AHBCLKDivider = RCC_HCLK_DIV2;
  RCC_ClkInitStruct.APB3CLKDivider = RCC_APB3_DIV2;
  RCC_ClkInitStruct.APB1CLKDivider = RCC_APB1_DIV2;
  RCC_ClkInitStruct.APB2CLKDivider = RCC_APB2_DIV2;
  RCC_ClkInitStruct.APB4CLKDivider = RCC_APB4_DIV2;

  if (HAL_RCC_ClockConfig(&RCC_ClkInitStruct, FLASH_LATENCY_4) != HAL_OK)
  {
    Error_Handler();
  }
}

void PeriphCommonClock_Config(void)
{
  RCC_PeriphCLKInitTypeDef PeriphClkInitStruct = {0};

  /** Initializes the peripherals clock
  */
  PeriphClkInitStruct.PeriphClockSelection = RCC_PERIPHCLK_I2C4|RCC_PERIPHCLK_I2C3
                              |RCC_PERIPHCLK_I2C1|RCC_PERIPHCLK_USART1
                              |RCC_PERIPHCLK_USART3;
  PeriphClkInitStruct.PLL3.PLL3M = 12;
  PeriphClkInitStruct.PLL3.PLL3N = 480;
  PeriphClkInitStruct.PLL3.PLL3P = 2;
  PeriphClkInitStruct.PLL3.PLL3Q = 8;
  PeriphClkInitStruct.PLL3.PLL3R = 8;
  PeriphClkInitStruct.PLL3.PLL3RGE = RCC_PLL3VCIRANGE_1;
  PeriphClkInitStruct.PLL3.PLL3VCOSEL = RCC_PLL3VCOWIDE;
  PeriphClkInitStruct.PLL3.PLL3FRACN = 0;
  PeriphClkInitStruct.Usart234578ClockSelection = RCC_USART234578CLKSOURCE_PLL3;
  PeriphClkInitStruct.Usart16ClockSelection = RCC_USART16CLKSOURCE_PLL3;
  PeriphClkInitStruct.I2c123ClockSelection = RCC_I2C123CLKSOURCE_PLL3;
  PeriphClkInitStruct.I2c4ClockSelection = RCC_I2C4CLKSOURCE_PLL3;
  if (HAL_RCCEx_PeriphCLKConfig(&PeriphClkInitStruct) != HAL_OK)
  {
    Error_Handler();
  }
}

static void MX_I2C1_Init(void)
{

  hi2c1.Instance = I2C1;
  hi2c1.Init.Timing = 0x0050174F;
  hi2c1.Init.OwnAddress1 = 0;
  hi2c1.Init.AddressingMode = I2C_ADDRESSINGMODE_7BIT;
  hi2c1.Init.DualAddressMode = I2C_DUALADDRESS_DISABLE;
  hi2c1.Init.OwnAddress2 = 0;
  hi2c1.Init.OwnAddress2Masks = I2C_OA2_NOMASK;
  hi2c1.Init.GeneralCallMode = I2C_GENERALCALL_DISABLE;
  hi2c1.Init.NoStretchMode = I2C_NOSTRETCH_DISABLE;
  if (HAL_I2C_Init(&hi2c1) != HAL_OK)
  {
    Error_Handler();
  }

  /** Configure Analogue filter
  */
  if (HAL_I2CEx_ConfigAnalogFilter(&hi2c1, I2C_ANALOGFILTER_ENABLE) != HAL_OK)
  {
    Error_Handler();
  }

  /** Configure Digital filter
  */
  if (HAL_I2CEx_ConfigDigitalFilter(&hi2c1, 0) != HAL_OK)
  {
    Error_Handler();
  }

  /** I2C Enable Fast Mode Plus
  */
  HAL_I2CEx_EnableFastModePlus(I2C_FASTMODEPLUS_I2C1);

}

static void MX_I2C3_Init(void)
{

  hi2c3.Instance = I2C3;
  hi2c3.Init.Timing = 0x307075B1;
  hi2c3.Init.OwnAddress1 = 208;
  hi2c3.Init.AddressingMode = I2C_ADDRESSINGMODE_7BIT;
  hi2c3.Init.DualAddressMode = I2C_DUALADDRESS_DISABLE;
  hi2c3.Init.OwnAddress2 = 0;
  hi2c3.Init.OwnAddress2Masks = I2C_OA2_NOMASK;
  hi2c3.Init.GeneralCallMode = I2C_GENERALCALL_DISABLE;
  hi2c3.Init.NoStretchMode = I2C_NOSTRETCH_DISABLE;
  if (HAL_I2C_Init(&hi2c3) != HAL_OK)
  {
    Error_Handler();
  }

  /** Configure Analogue filter
  */
  if (HAL_I2CEx_ConfigAnalogFilter(&hi2c3, I2C_ANALOGFILTER_ENABLE) != HAL_OK)
  {
    Error_Handler();
  }

  /** Configure Digital filter
  */
  if (HAL_I2CEx_ConfigDigitalFilter(&hi2c3, 0) != HAL_OK)
  {
    Error_Handler();
  }

}

static void MX_I2C4_Init(void)
{

  hi2c4.Instance = I2C4;
  hi2c4.Init.Timing = 0x00B03FDB;
  hi2c4.Init.OwnAddress1 = 0;
  hi2c4.Init.AddressingMode = I2C_ADDRESSINGMODE_7BIT;
  hi2c4.Init.DualAddressMode = I2C_DUALADDRESS_DISABLE;
  hi2c4.Init.OwnAddress2 = 0;
  hi2c4.Init.OwnAddress2Masks = I2C_OA2_NOMASK;
  hi2c4.Init.GeneralCallMode = I2C_GENERALCALL_DISABLE;
  hi2c4.Init.NoStretchMode = I2C_NOSTRETCH_DISABLE;
  if (HAL_I2C_Init(&hi2c4) != HAL_OK)
  {
    Error_Handler();
  }

  /** Configure Analogue filter
  */
  if (HAL_I2CEx_ConfigAnalogFilter(&hi2c4, I2C_ANALOGFILTER_ENABLE) != HAL_OK)
  {
    Error_Handler();
  }

  /** Configure Digital filter
  */
  if (HAL_I2CEx_ConfigDigitalFilter(&hi2c4, 0) != HAL_OK)
  {
    Error_Handler();
  }

}

static void MX_TIM1_Init(void)
{

  TIM_ClockConfigTypeDef sClockSourceConfig = {0};
  TIM_MasterConfigTypeDef sMasterConfig = {0};
  TIM_OC_InitTypeDef sConfigOC = {0};
  TIM_BreakDeadTimeConfigTypeDef sBreakDeadTimeConfig = {0};

  htim1.Instance = TIM1;
  htim1.Init.Prescaler = 0;
  htim1.Init.CounterMode = TIM_COUNTERMODE_UP;
  htim1.Init.Period = 9999;
  htim1.Init.ClockDivision = TIM_CLOCKDIVISION_DIV1;
  htim1.Init.RepetitionCounter = 0;
  htim1.Init.AutoReloadPreload = TIM_AUTORELOAD_PRELOAD_DISABLE;
  if (HAL_TIM_Base_Init(&htim1) != HAL_OK)
  {
    Error_Handler();
  }
  sClockSourceConfig.ClockSource = TIM_CLOCKSOURCE_INTERNAL;
  if (HAL_TIM_ConfigClockSource(&htim1, &sClockSourceConfig) != HAL_OK)
  {
    Error_Handler();
  }
  if (HAL_TIM_PWM_Init(&htim1) != HAL_OK)
  {
    Error_Handler();
  }
  sMasterConfig.MasterOutputTrigger = TIM_TRGO_RESET;
  sMasterConfig.MasterOutputTrigger2 = TIM_TRGO2_RESET;
  sMasterConfig.MasterSlaveMode = TIM_MASTERSLAVEMODE_DISABLE;
  if (HAL_TIMEx_MasterConfigSynchronization(&htim1, &sMasterConfig) != HAL_OK)
  {
    Error_Handler();
  }
  sConfigOC.OCMode = TIM_OCMODE_PWM1;
  sConfigOC.Pulse = 0;
  sConfigOC.OCPolarity = TIM_OCPOLARITY_HIGH;
  sConfigOC.OCNPolarity = TIM_OCNPOLARITY_HIGH;
  sConfigOC.OCFastMode = TIM_OCFAST_DISABLE;
  sConfigOC.OCIdleState = TIM_OCIDLESTATE_RESET;
  sConfigOC.OCNIdleState = TIM_OCNIDLESTATE_RESET;
  if (HAL_TIM_PWM_ConfigChannel(&htim1, &sConfigOC, TIM_CHANNEL_1) != HAL_OK)
  {
    Error_Handler();
  }
  if (HAL_TIM_PWM_ConfigChannel(&htim1, &sConfigOC, TIM_CHANNEL_2) != HAL_OK)
  {
    Error_Handler();
  }
  if (HAL_TIM_PWM_ConfigChannel(&htim1, &sConfigOC, TIM_CHANNEL_3) != HAL_OK)
  {
    Error_Handler();
  }
  if (HAL_TIM_PWM_ConfigChannel(&htim1, &sConfigOC, TIM_CHANNEL_4) != HAL_OK)
  {
    Error_Handler();
  }
  sBreakDeadTimeConfig.OffStateRunMode = TIM_OSSR_DISABLE;
  sBreakDeadTimeConfig.OffStateIDLEMode = TIM_OSSI_DISABLE;
  sBreakDeadTimeConfig.LockLevel = TIM_LOCKLEVEL_OFF;
  sBreakDeadTimeConfig.DeadTime = 0;
  sBreakDeadTimeConfig.BreakState = TIM_BREAK_DISABLE;
  sBreakDeadTimeConfig.BreakPolarity = TIM_BREAKPOLARITY_HIGH;
  sBreakDeadTimeConfig.BreakFilter = 0;
  sBreakDeadTimeConfig.Break2State = TIM_BREAK2_DISABLE;
  sBreakDeadTimeConfig.Break2Polarity = TIM_BREAK2POLARITY_HIGH;
  sBreakDeadTimeConfig.Break2Filter = 0;
  sBreakDeadTimeConfig.AutomaticOutput = TIM_AUTOMATICOUTPUT_DISABLE;
  if (HAL_TIMEx_ConfigBreakDeadTime(&htim1, &sBreakDeadTimeConfig) != HAL_OK)
  {
    Error_Handler();
  }
  HAL_TIM_MspPostInit(&htim1);

}

static void MX_TIM6_Init(void)
{

  TIM_MasterConfigTypeDef sMasterConfig = {0};

  htim6.Instance = TIM6;
  htim6.Init.Prescaler = 239;
  htim6.Init.CounterMode = TIM_COUNTERMODE_UP;
  htim6.Init.Period = 249;
  htim6.Init.AutoReloadPreload = TIM_AUTORELOAD_PRELOAD_DISABLE;
  if (HAL_TIM_Base_Init(&htim6) != HAL_OK)
  {
    Error_Handler();
  }
  sMasterConfig.MasterOutputTrigger = TIM_TRGO_RESET;
  sMasterConfig.MasterSlaveMode = TIM_MASTERSLAVEMODE_DISABLE;
  if (HAL_TIMEx_MasterConfigSynchronization(&htim6, &sMasterConfig) != HAL_OK)
  {
    Error_Handler();
  }

}

static void MX_TIM7_Init(void)
{

  TIM_MasterConfigTypeDef sMasterConfig = {0};

  htim7.Instance = TIM7;
  htim7.Init.Prescaler = 239;
  htim7.Init.CounterMode = TIM_COUNTERMODE_UP;
  htim7.Init.Period = 499;
  htim7.Init.AutoReloadPreload = TIM_AUTORELOAD_PRELOAD_DISABLE;
  if (HAL_TIM_Base_Init(&htim7) != HAL_OK)
  {
    Error_Handler();
  }
  sMasterConfig.MasterOutputTrigger = TIM_TRGO_RESET;
  sMasterConfig.MasterSlaveMode = TIM_MASTERSLAVEMODE_DISABLE;
  if (HAL_TIMEx_MasterConfigSynchronization(&htim7, &sMasterConfig) != HAL_OK)
  {
    Error_Handler();
  }

}

static void MX_TIM13_Init(void)
{

  htim13.Instance = TIM13;
  htim13.Init.Prescaler = 239;
  htim13.Init.CounterMode = TIM_COUNTERMODE_UP;
  htim13.Init.Period = 999;
  htim13.Init.ClockDivision = TIM_CLOCKDIVISION_DIV1;
  htim13.Init.AutoReloadPreload = TIM_AUTORELOAD_PRELOAD_DISABLE;
  if (HAL_TIM_Base_Init(&htim13) != HAL_OK)
  {
    Error_Handler();
  }

}

static void MX_TIM14_Init(void)
{

  htim14.Instance = TIM14;
  htim14.Init.Prescaler = 239;
  htim14.Init.CounterMode = TIM_COUNTERMODE_UP;
  htim14.Init.Period = 124;
  htim14.Init.ClockDivision = TIM_CLOCKDIVISION_DIV1;
  htim14.Init.AutoReloadPreload = TIM_AUTORELOAD_PRELOAD_DISABLE;
  if (HAL_TIM_Base_Init(&htim14) != HAL_OK)
  {
    Error_Handler();
  }

}

static void MX_TIM16_Init(void)
{

  TIM_IC_InitTypeDef sConfigIC = {0};

  htim16.Instance = TIM16;
  htim16.Init.Prescaler = 239;
  htim16.Init.CounterMode = TIM_COUNTERMODE_UP;
  htim16.Init.Period = 65535;
  htim16.Init.ClockDivision = TIM_CLOCKDIVISION_DIV1;
  htim16.Init.RepetitionCounter = 0;
  htim16.Init.AutoReloadPreload = TIM_AUTORELOAD_PRELOAD_DISABLE;
  if (HAL_TIM_Base_Init(&htim16) != HAL_OK)
  {
    Error_Handler();
  }
  if (HAL_TIM_IC_Init(&htim16) != HAL_OK)
  {
    Error_Handler();
  }
  sConfigIC.ICPolarity = TIM_INPUTCHANNELPOLARITY_RISING;
  sConfigIC.ICSelection = TIM_ICSELECTION_DIRECTTI;
  sConfigIC.ICPrescaler = TIM_ICPSC_DIV1;
  sConfigIC.ICFilter = 0;
  if (HAL_TIM_IC_ConfigChannel(&htim16, &sConfigIC, TIM_CHANNEL_1) != HAL_OK)
  {
    Error_Handler();
  }

}

static void MX_USART1_UART_Init(void)
{

  huart1.Instance = USART1;
  huart1.Init.BaudRate = 9600;
  huart1.Init.WordLength = UART_WORDLENGTH_8B;
  huart1.Init.StopBits = UART_STOPBITS_1;
  huart1.Init.Parity = UART_PARITY_NONE;
  huart1.Init.Mode = UART_MODE_TX_RX;
  huart1.Init.HwFlowCtl = UART_HWCONTROL_NONE;
  huart1.Init.OverSampling = UART_OVERSAMPLING_16;
  huart1.Init.OneBitSampling = UART_ONE_BIT_SAMPLE_DISABLE;
  huart1.Init.ClockPrescaler = UART_PRESCALER_DIV1;
  huart1.AdvancedInit.AdvFeatureInit = UART_ADVFEATURE_NO_INIT;
  if (HAL_UART_Init(&huart1) != HAL_OK)
  {
    Error_Handler();
  }
  if (HAL_UARTEx_SetTxFifoThreshold(&huart1, UART_TXFIFO_THRESHOLD_1_8) != HAL_OK)
  {
    Error_Handler();
  }
  if (HAL_UARTEx_SetRxFifoThreshold(&huart1, UART_RXFIFO_THRESHOLD_1_8) != HAL_OK)
  {
    Error_Handler();
  }
  if (HAL_UARTEx_DisableFifoMode(&huart1) != HAL_OK)
  {
    Error_Handler();
  }

}

static void MX_USART3_UART_Init(void)
{

  huart3.Instance = USART3;
  huart3.Init.BaudRate = 19200;
  huart3.Init.WordLength = UART_WORDLENGTH_8B;
  huart3.Init.StopBits = UART_STOPBITS_1;
  huart3.Init.Parity = UART_PARITY_NONE;
  huart3.Init.Mode = UART_MODE_TX_RX;
  huart3.Init.HwFlowCtl = UART_HWCONTROL_NONE;
  huart3.Init.OverSampling = UART_OVERSAMPLING_16;
  huart3.Init.OneBitSampling = UART_ONE_BIT_SAMPLE_DISABLE;
  huart3.Init.ClockPrescaler = UART_PRESCALER_DIV1;
  huart3.AdvancedInit.AdvFeatureInit = UART_ADVFEATURE_NO_INIT;
  if (HAL_UART_Init(&huart3) != HAL_OK)
  {
    Error_Handler();
  }
  if (HAL_UARTEx_SetTxFifoThreshold(&huart3, UART_TXFIFO_THRESHOLD_1_8) != HAL_OK)
  {
    Error_Handler();
  }
  if (HAL_UARTEx_SetRxFifoThreshold(&huart3, UART_RXFIFO_THRESHOLD_1_8) != HAL_OK)
  {
    Error_Handler();
  }
  if (HAL_UARTEx_DisableFifoMode(&huart3) != HAL_OK)
  {
    Error_Handler();
  }

}

static void MX_DMA_Init(void)
{

  /* DMA controller clock enable */
  __HAL_RCC_DMA1_CLK_ENABLE();
  __HAL_RCC_DMA2_CLK_ENABLE();

  /* DMA interrupt init */
  /* DMA1_Stream0_IRQn interrupt configuration */
  HAL_NVIC_SetPriority(DMA1_Stream0_IRQn, 0, 0);
  HAL_NVIC_EnableIRQ(DMA1_Stream0_IRQn);
  /* DMA1_Stream1_IRQn interrupt configuration */
  HAL_NVIC_SetPriority(DMA1_Stream1_IRQn, 0, 0);
  HAL_NVIC_EnableIRQ(DMA1_Stream1_IRQn);
  /* DMA1_Stream2_IRQn interrupt configuration */
  HAL_NVIC_SetPriority(DMA1_Stream2_IRQn, 0, 0);
  HAL_NVIC_EnableIRQ(DMA1_Stream2_IRQn);
  /* DMA1_Stream4_IRQn interrupt configuration */
  HAL_NVIC_SetPriority(DMA1_Stream4_IRQn, 0, 0);
  HAL_NVIC_EnableIRQ(DMA1_Stream4_IRQn);
  /* DMA1_Stream6_IRQn interrupt configuration */
  HAL_NVIC_SetPriority(DMA1_Stream6_IRQn, 0, 0);
  HAL_NVIC_EnableIRQ(DMA1_Stream6_IRQn);
  /* DMA1_Stream7_IRQn interrupt configuration */
  HAL_NVIC_SetPriority(DMA1_Stream7_IRQn, 0, 0);
  HAL_NVIC_EnableIRQ(DMA1_Stream7_IRQn);
  /* DMA2_Stream0_IRQn interrupt configuration */
  HAL_NVIC_SetPriority(DMA2_Stream0_IRQn, 0, 0);
  HAL_NVIC_EnableIRQ(DMA2_Stream0_IRQn);
  /* DMA2_Stream1_IRQn interrupt configuration */
  HAL_NVIC_SetPriority(DMA2_Stream1_IRQn, 0, 0);
  HAL_NVIC_EnableIRQ(DMA2_Stream1_IRQn);
  /* DMA2_Stream6_IRQn interrupt configuration */
  HAL_NVIC_SetPriority(DMA2_Stream6_IRQn, 0, 0);
  HAL_NVIC_EnableIRQ(DMA2_Stream6_IRQn);
  /* DMA2_Stream7_IRQn interrupt configuration */
  HAL_NVIC_SetPriority(DMA2_Stream7_IRQn, 0, 0);
  HAL_NVIC_EnableIRQ(DMA2_Stream7_IRQn);

}

static void MX_GPIO_Init(void)
{
  GPIO_InitTypeDef GPIO_InitStruct = {0};

  /* GPIO Ports Clock Enable */
  __HAL_RCC_GPIOE_CLK_ENABLE();
  __HAL_RCC_GPIOH_CLK_ENABLE();
  __HAL_RCC_GPIOC_CLK_ENABLE();
  __HAL_RCC_GPIOA_CLK_ENABLE();
  __HAL_RCC_GPIOB_CLK_ENABLE();
  __HAL_RCC_GPIOD_CLK_ENABLE();

  /*Configure GPIO pin Output Level */
  HAL_GPIO_WritePin(GPIOE, GPIO_PIN_4, GPIO_PIN_RESET);

  /*Configure GPIO pin Output Level */
  HAL_GPIO_WritePin(GPIOC, GPIO_PIN_0|GPIO_PIN_1|GPIO_PIN_2|GPIO_PIN_3
                          |GPIO_PIN_5, GPIO_PIN_RESET);

  /*Configure GPIO pin Output Level */
  HAL_GPIO_WritePin(GPIOD, GPIO_PIN_11, GPIO_PIN_RESET);

  /*Configure GPIO pin : PE3 */
  GPIO_InitStruct.Pin = GPIO_PIN_3;
  GPIO_InitStruct.Mode = GPIO_MODE_INPUT;
  GPIO_InitStruct.Pull = GPIO_NOPULL;
  HAL_GPIO_Init(GPIOE, &GPIO_InitStruct);

  /*Configure GPIO pin : PE4 */
  GPIO_InitStruct.Pin = GPIO_PIN_4;
  GPIO_InitStruct.Mode = GPIO_MODE_OUTPUT_PP;
  GPIO_InitStruct.Pull = GPIO_NOPULL;
  GPIO_InitStruct.Speed = GPIO_SPEED_FREQ_LOW;
  HAL_GPIO_Init(GPIOE, &GPIO_InitStruct);

  /*Configure GPIO pins : PE5 PE6 */
  GPIO_InitStruct.Pin = GPIO_PIN_5|GPIO_PIN_6;
  GPIO_InitStruct.Mode = GPIO_MODE_AF_PP;
  GPIO_InitStruct.Pull = GPIO_NOPULL;
  GPIO_InitStruct.Speed = GPIO_SPEED_FREQ_LOW;
  GPIO_InitStruct.Alternate = GPIO_AF4_TIM15;
  HAL_GPIO_Init(GPIOE, &GPIO_InitStruct);

  /*Configure GPIO pins : PC0 PC1 PC2 PC3
                           PC5 */
  GPIO_InitStruct.Pin = GPIO_PIN_0|GPIO_PIN_1|GPIO_PIN_2|GPIO_PIN_3
                          |GPIO_PIN_5;
  GPIO_InitStruct.Mode = GPIO_MODE_OUTPUT_PP;
  GPIO_InitStruct.Pull = GPIO_NOPULL;
  GPIO_InitStruct.Speed = GPIO_SPEED_FREQ_LOW;
  HAL_GPIO_Init(GPIOC, &GPIO_InitStruct);

  /*Configure GPIO pins : PA0 Motor_8_Pin PA2 PA3 */
  GPIO_InitStruct.Pin = GPIO_PIN_0|Motor_8_Pin|GPIO_PIN_2|GPIO_PIN_3;
  GPIO_InitStruct.Mode = GPIO_MODE_AF_PP;
  GPIO_InitStruct.Pull = GPIO_NOPULL;
  GPIO_InitStruct.Speed = GPIO_SPEED_FREQ_LOW;
  GPIO_InitStruct.Alternate = GPIO_AF1_TIM2;
  HAL_GPIO_Init(GPIOA, &GPIO_InitStruct);

  /*Configure GPIO pin : PD11 */
  GPIO_InitStruct.Pin = GPIO_PIN_11;
  GPIO_InitStruct.Mode = GPIO_MODE_OUTPUT_PP;
  GPIO_InitStruct.Pull = GPIO_NOPULL;
  GPIO_InitStruct.Speed = GPIO_SPEED_FREQ_LOW;
  HAL_GPIO_Init(GPIOD, &GPIO_InitStruct);

  /*Configure GPIO pins : PA11 PA12 */
  GPIO_InitStruct.Pin = GPIO_PIN_11|GPIO_PIN_12;
  GPIO_InitStruct.Mode = GPIO_MODE_AF_PP;
  GPIO_InitStruct.Pull = GPIO_NOPULL;
  GPIO_InitStruct.Speed = GPIO_SPEED_FREQ_LOW;
  GPIO_InitStruct.Alternate = GPIO_AF6_UART4;
  HAL_GPIO_Init(GPIOA, &GPIO_InitStruct);

  /*Configure GPIO pins : PD5 PD6 */
  GPIO_InitStruct.Pin = GPIO_PIN_5|GPIO_PIN_6;
  GPIO_InitStruct.Mode = GPIO_MODE_AF_PP;
  GPIO_InitStruct.Pull = GPIO_NOPULL;
  GPIO_InitStruct.Speed = GPIO_SPEED_FREQ_LOW;
  GPIO_InitStruct.Alternate = GPIO_AF7_USART2;
  HAL_GPIO_Init(GPIOD, &GPIO_InitStruct);

  /*AnalogSwitch Config */
  HAL_SYSCFG_AnalogSwitchConfig(SYSCFG_SWITCH_PC2, SYSCFG_SWITCH_PC2_CLOSE);

  /*AnalogSwitch Config */
  HAL_SYSCFG_AnalogSwitchConfig(SYSCFG_SWITCH_PC3, SYSCFG_SWITCH_PC3_CLOSE);

}

void Error_Handler(void)
{
  __disable_irq();
  while (1)
  {
  }
}
